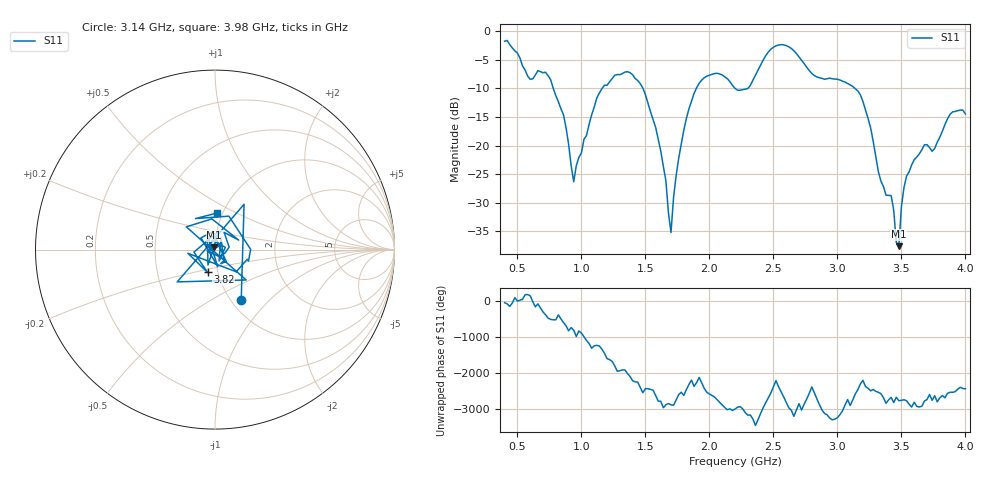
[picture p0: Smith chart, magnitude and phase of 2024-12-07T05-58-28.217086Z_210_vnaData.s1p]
!Created with skrf (http://scikit-rf.org).
# Hz S RI R 50.0
!freq ReS11 ImS11
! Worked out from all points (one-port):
!   181 points, 400 MHz to 4 GHz, reference 50 ohm
!   lowest |S11| = -37.6 dB at 3.48 GHz (marker M1), VSWR 1.03, Z = 49.6 + j1.25 ohm
!   |S11| at or under -10 dB: 780.1 MHz to 1.162 GHz (381.8 MHz wide, 39.3 % of centre); 1.481 GHz to 1.898 GHz (416.8 MHz wide, 24.7 % of centre); 3.137 GHz to end of sweep (the widest 3 of 4)
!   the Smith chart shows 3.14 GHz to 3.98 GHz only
!   S11 on the Smith chart (normalised r, x): 3.14 GHz: 1.12, -0.69; 3.82 GHz: 0.89, -0.23; 3.98 GHz: 0.94, +0.40
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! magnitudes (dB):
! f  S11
! 400 MHz  -1.7
! 600 MHz  -8.4
! 720 MHz  -7.2
! 860 MHz  -14.6
! 940 MHz  -26.3
! 1.12 GHz  -11.7
! 1.3 GHz  -7.6
! 1.5 GHz  -11.1
! 1.62 GHz  -21.0
! 1.7 GHz  -35.2
! 1.76 GHz  -22.2
! 1.92 GHz  -9.1
! 2.2 GHz  -10.0
! 2.3 GHz  -10.0
! 2.5 GHz  -2.8
! 2.66 GHz  -3.4
! 3.1 GHz  -9.4
! 3.14 GHz  -10.1
! 3.24 GHz  -15.3
! 3.34 GHz  -26.2
! 3.42 GHz  -28.8
! 3.46 GHz  -36.9
! 3.48 GHz  -37.6
! 3.52 GHz  -27.4
! 3.56 GHz  -24.6
! 3.82 GHz  -17.5
! 3.98 GHz  -13.8
! 4 GHz  -14.5
